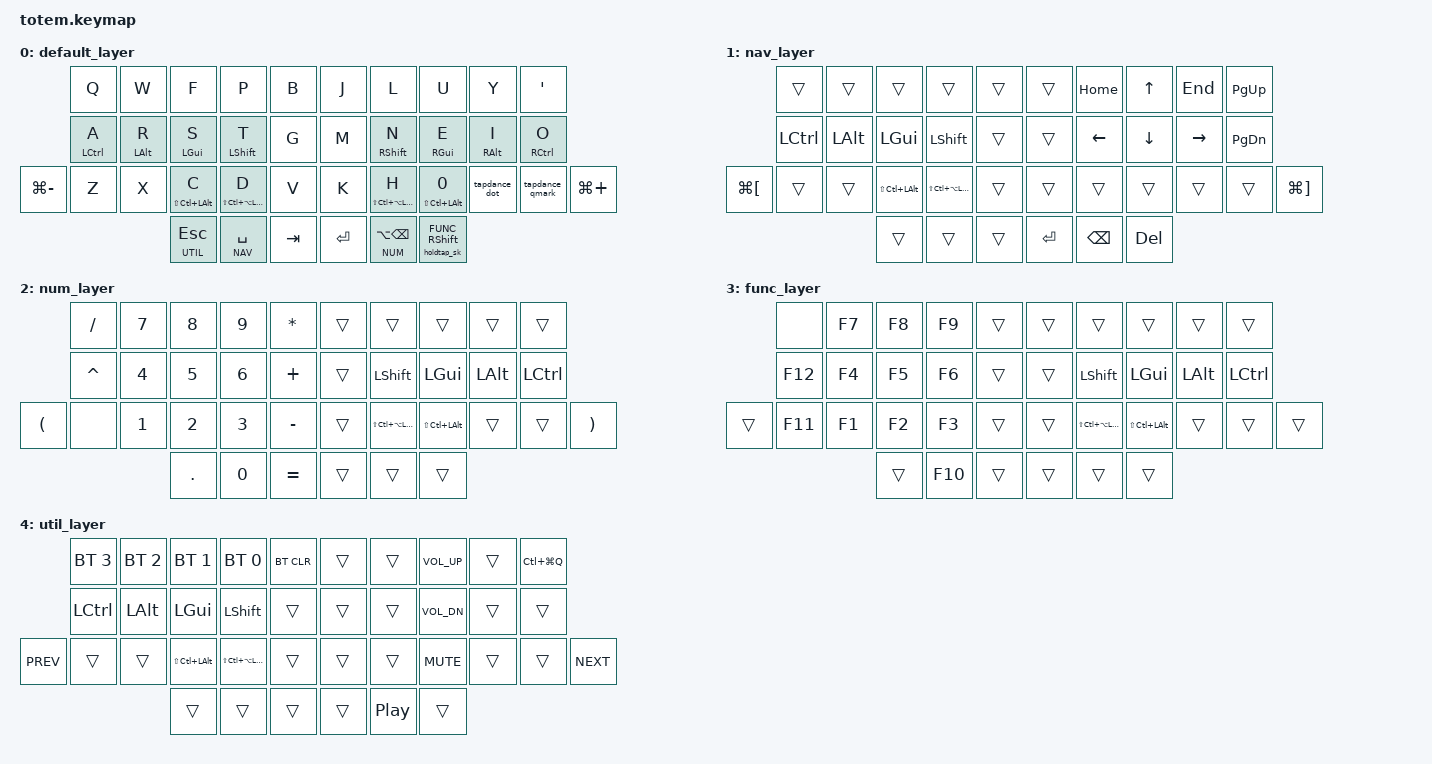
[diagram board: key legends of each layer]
// Copyright (c) 2022 The ZMK Contributors
// SPDX-License-Identifier: MIT

#include "../zmk-nodefree-config/helper.h"
#include "../zmk-nodefree-config/keypos_def/keypos_38keys.h"
#include <behaviors.dtsi>
#include <dt-bindings/zmk/keys.h>
#include <dt-bindings/zmk/bt.h>

#define XXX &none
#define TODO ___
#define ___ &trans

#define BASE 0
#define NAV 1
#define NUM 2
#define FUNC 3
#define UTIL 4

#include "combos.dtsi"
#include "macros.dtsi"

// navigation bindings for back/forward and prev tab/next tab
#define BACK &kp LG(LBKT)
#define FWD &kp LG(RBKT)
#define PTAB &kp LS(LG(LBKT))
#define NTAB &kp LS(LG(RBKT))
#define LOCK &kp LC(LG(Q))
#define ZOOMIN &kp LG(PLUS)
#define ZOOMOUT &kp LG(MINUS)

// hyper and meh keys
#define HYP LS(LC(LA(LGUI)))
#define MEH LS(LC(LALT))

/* ------------------------ general config ----------------------- */

#define QUICK_TAP_MS 175

// smart-layer config
&caps_word {  
    // /delete-property/ ignore-modifiers; // mods deactivate, requires PR #1451
    /delete-property/ ignore-numbers;
    continue-list = <BACKSPACE ENTER DELETE UNDERSCORE MINUS>;
};

// key-repeat config
&key_repeat {
    usage-pages = <HID_USAGE_KEY HID_USAGE_CONSUMER>; // repeat all keys
};

// sticky key aka 'one-shot mods'
&sk {
    release-after-ms = <2000>;
    quick-release;
};

// default layer-tap config
&lt {  
    flavor = "balanced";
    tapping-term-ms = <200>;
    quick-tap-ms = <QUICK_TAP_MS>;
};

#define KEYS_L LT0 LT1 LT2 LT3 LT4 LM0 LM1 LM2 LM3 LM4 LB0 LB1 LB2 LB3 LB4  // left hand
#define KEYS_R RT0 RT1 RT2 RT3 RT4 RM0 RM1 RM2 RM3 RM4 RB0 RB1 RB2 RB3 RB4  // right hand
#define THUMBS LH2 LH1 LH0 RH0 RH1 RH2                                      // thumbs

#define MAKE_HRM(NAME, HOLD, TAP, TRIGGER_POS) \
    ZMK_BEHAVIOR(NAME, hold_tap, \
        flavor = "balanced"; \
        tapping-term-ms = <280>; \
        quick-tap-ms = <QUICK_TAP_MS>; \
        require-prior-idle-ms = <150>; \
        bindings = <HOLD>, <TAP>; \
        hold-trigger-key-positions = <TRIGGER_POS>; \
        hold-trigger-on-release; \
    )
MAKE_HRM(hml, &kp, &kp, KEYS_R THUMBS)  // left-hand HRMs
MAKE_HRM(hmr, &kp, &kp, KEYS_L THUMBS)  // right-hand HRMs

// special HRMs for the right meh key, as it involves a modmorph. Also added tapdance to the key
MAKE_HRM(hmr_meh, &kp, &tapdance_comma, KEYS_L THUMBS)
// MAKE_HRM(hmr_lpar, &kp, &lpar, KEYS_L THUMBS)    // "    "   "   "
// MAKE_HRM(hmr_rpar, &kp, &rpar, KEYS_L THUMBS)    // "    "   "   "

// mod_morph keys
// tap: qmark | shift + tap: excl
ZMK_BEHAVIOR(qexcl, mod_morph,
    bindings = <&kp QMARK>, <&kp EXCL>;
    mods = <(MOD_LSFT|MOD_RSFT)>;
)

// tap: calls qexcl behavior | double tap calls nextsentence macro
ZMK_BEHAVIOR(tapdance_qmark, tap_dance,
    bindings = <&qexcl>, <&macro_nextsentence QMARK>;
)

// tap: comma | shift + tap: semicolon 
ZMK_BEHAVIOR(comma_morph, mod_morph,
    bindings = <&kp COMMA>, <&kp SEMICOLON>;
    mods = <(MOD_LSFT|MOD_RSFT)>;
)

// tap: calls comma_morph behavior | double tap calls commaspace macro to add ", "
ZMK_BEHAVIOR(tapdance_comma, tap_dance,
    bindings = <&comma_morph>, <&macro_commaspace>;
)

// tap: dot | shift + tap: colon 
ZMK_BEHAVIOR(dot_morph, mod_morph,
    bindings = <&kp DOT>, <&kp COLON>;
    mods = <(MOD_LSFT|MOD_RSFT)>;
)

// tap: calls dot_morph behavior | double tap calls nextsentence macro
ZMK_BEHAVIOR(tapdance_dot, tap_dance,
    bindings = <&dot_morph>, <&macro_nextsentence DOT>;
)

/*
// tap: deletes one character | double tap deletes entire word
ZMK_BEHAVIOR(tapdance_BSPC, tap_dance,
    tapping-term-ms = <180>; // The window allowed between your first and second tap
    bindings = <&kp BSPC>, <&kp LA(BSPC)>;
)

// 2. Adjust the wrapper Hold-Tap to be much more responsive
ZMK_BEHAVIOR(holdtap_tdBSPC, hold_tap,
    flavor = "tap-preferred";
    tapping-term-ms = <200>; // Lowered from 280ms so the tap registers faster
    quick-tap-ms = <200>;    // Hardcode 200ms to bypass global macro overlap 
 
    // FIX 1: If you release the key before the tapping term, always send a tap
    retro-tap;                        
    
    // FIX 2: Prevents rapid rolling keys from getting trapped in the hold decision
    require-prior-idle-ms = <125>;
    quick-tap-ms = <QUICK_TAP_MS>;
    bindings = <&mo>, <&tapdance_BSPC>;
    hold-trigger-on-release;
)
*/

/*
// tap: calls single quote | double tap calls double quotes // not using it becuase I want to get used to home row mods
ZMK_BEHAVIOR(tapdance_APOS, tap_dance,
    bindings = <&kp APOS>, <&kp LS(APOS)>;
)
*/

// hold: first argument | tap: second argument
ZMK_BEHAVIOR(holdtap_sk, hold_tap,
    flavor = "tap-preferred";
    tapping-term-ms = <280>;
    quick-tap-ms = <QUICK_TAP_MS>;
    require-prior-idle-ms = <150>;
    bindings = <&mo>, <&sk>;
    hold-trigger-on-release;
)

/ {
// TODO: Add hyper key as HRM
// TODO: Add PTAB and NTAB keys when I figure out how to avoid accidental key presses of outer pinky keys (e.g. prior idle time)
    keymap {
        compatible = "zmk,keymap";
        default_layer { // ColemakDHm
            bindings = <
               &kp Q         &kp W         &kp F              &kp P            &kp B                 &kp J         &kp L                         &kp U            &kp Y            &kp APOS 
               &hml LCTRL A  &hml LALT R   &hml LGUI S        &hml LSHFT T     &kp G                 &kp M         &hmr RSHFT N                  &hmr RGUI E      &hmr RALT I      &hmr RCTRL O
    ZOOMOUT    &kp Z         &kp X         &hml MEH C         &hml HYP D       &kp V                 &kp K         &hmr HYP H                    &hmr_meh MEH 0   &tapdance_dot    &tapdance_qmark    ZOOMIN
                                           &lt UTIL ESC       &lt NAV SPACE    &kp TAB               &kp RET       &lt NUM LA(BSPC)              &holdtap_sk FUNC RSHFT
            >;
        };
        nav_layer { 
            bindings = <
            ___          ___          ___            ___             ___                   ___           &kp HOME          &kp UP          &kp END       &kp PAGE_UP 
            &kp LCTRL    &kp LALT     &kp LGUI       &kp LSHFT       ___                   ___           &kp LEFT          &kp DOWN        &kp RIGHT     &kp PAGE_DOWN
    BACK    ___          ___          &kp MEH        &kp HYP         ___                   ___           ___               ___             ___           ___             FWD
                                      ___            ___             ___                   &kp RET       &kp BSPC          &kp DEL
            >;
        }; 
        num_layer {
            bindings = <
            &kp FSLH     &kp N7       &kp N8          &kp N9         &kp STAR              ___           ___               ___             ___           ___ 
            &kp CARET    &kp N4       &kp N5          &kp N6         &kp PLUS              ___           &kp LSHFT         &kp LGUI        &kp LALT      &kp LCTRL
  &kp LPAR  &none        &kp N1       &kp N2          &kp N3         &kp MINUS             ___           &kp HYP           &kp MEH         ___           ___            &kp RPAR
                                      &kp DOT         &kp N0         &kp EQUAL             ___           ___               ___
            >;
        };
        func_layer {
            bindings = <
            &none        &kp F7       &kp F8          &kp F9          ___                   ___           ___               ___             ___           ___
            &kp F12      &kp F4       &kp F5          &kp F6          ___                   ___           &kp LSHFT         &kp LGUI        &kp LALT      &kp LCTRL 
    ___     &kp F11      &kp F1       &kp F2          &kp F3          ___                   ___           &kp HYP           &kp MEH         ___           ___             ___
                                      ___             &kp F10         ___                   ___           ___               ___
            >;
        };
        util_layer {
            bindings = <
                    &bt BT_SEL 3 &bt BT_SEL 2 &bt BT_SEL 1   &bt BT_SEL 0    &bt BT_CLR             ___           ___               &kp C_VOL_UP    ___           LOCK
                    &kp LCTRL    &kp LALT     &kp LGUI       &kp LSHFT       ___                    ___           ___               &kp C_VOL_DN    ___           ___ 
    &kp C_PREV      ___          ___          &kp MEH        &kp HYP         ___                    ___           ___               &kp C_MUTE      ___           ___    &kp C_NEXT
                                              ___            ___             ___                    ___           &kp C_PP          ___
            >;
        };  
    };
};
    
/* --------------------------------- combos --------------------------------- */
/*
   ╭────────────────────┬────────────────────╮     ╭─────────────────────┬─────────────────────╮
   │  0   1   2   3   4 │  5   6   7   8   9 │     │ LT4 LT3 LT2 LT1 LT0 │ RT0 RT1 RT2 RT3 RT4 │
   │ 10  11  12  13  14 │ 15  16  17  18  19 │     │ LM4 LM3 LM2 LM1 LM0 │ RM0 RM1 RM2 RM3 RM4 │
  20 21  22  23  24  25 │ 26  27  28  29  30 31  LB5 LB4 LB3 LB2 LB1 LB0 │ RB0 RB1 RB2 RB3 RB4 RB5
   ╰───────╮ 32  33  34 │ 35  36  37 ╭───────╯     ╰───────╮ LH2 LH1 LH0 │ RH0 RH1 RH2 ╭───────╯
           ╰────────────┴────────────╯                     ╰─────────────┴─────────────╯             */
// use global-quick-tap-ms for combos (requires PR 1387)
